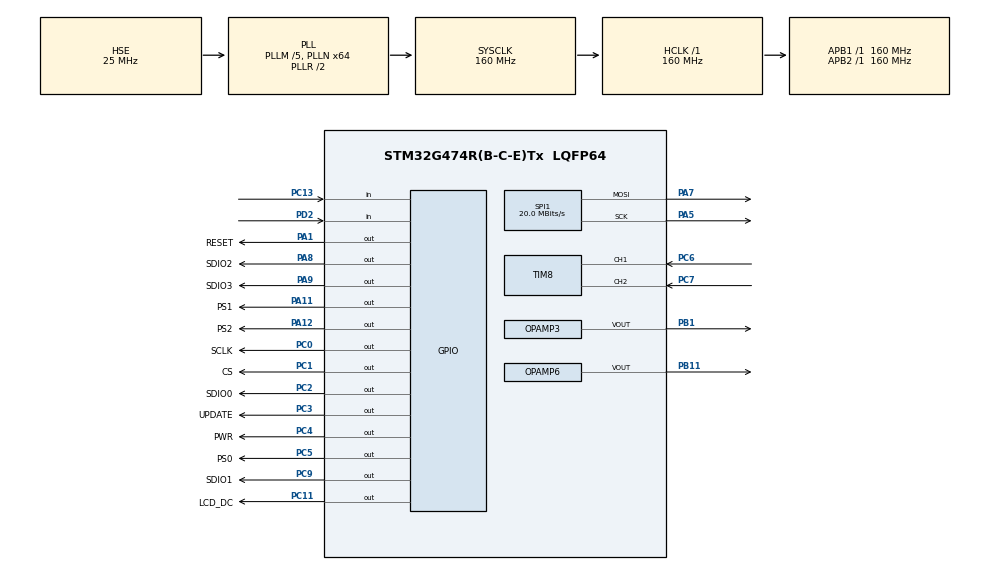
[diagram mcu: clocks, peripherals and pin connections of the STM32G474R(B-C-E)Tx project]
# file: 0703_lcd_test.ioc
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DAC3.DAC_Channel-DAC_OUT2_Int=DAC_CHANNEL_2
DAC3.DAC_DMADoubleDataMode-DAC_OUT1_Int=ENABLE
DAC3.DAC_DMADoubleDataMode-DAC_OUT2_Int=ENABLE
DAC3.DAC_Trigger_OUT1-DAC_OUT1_Int=DAC_TRIGGER_T15_TRGO
DAC3.DAC_Trigger_OUT2-DAC_OUT2_Int=DAC_TRIGGER_T15_TRGO
Dma.DAC3_CH1.1.Direction=DMA_MEMORY_TO_PERIPH
Dma.DAC3_CH1.1.EventEnable=DISABLE
Dma.DAC3_CH1.1.Instance=DMA1_Channel2
Dma.DAC3_CH1.1.MemDataAlignment=DMA_MDATAALIGN_WORD
Dma.DAC3_CH1.1.MemInc=DMA_MINC_ENABLE
Dma.DAC3_CH1.1.Mode=DMA_CIRCULAR
Dma.DAC3_CH1.1.PeriphDataAlignment=DMA_PDATAALIGN_WORD
Dma.DAC3_CH1.1.PeriphInc=DMA_PINC_DISABLE
Dma.DAC3_CH1.1.Polarity=HAL_DMAMUX_REQ_GEN_RISING
Dma.DAC3_CH1.1.Priority=DMA_PRIORITY_LOW
Dma.DAC3_CH1.1.RequestNumber=1
Dma.DAC3_CH1.1.SignalID=NONE
Dma.DAC3_CH1.1.SyncEnable=DISABLE
Dma.DAC3_CH1.1.SyncPolarity=HAL_DMAMUX_SYNC_NO_EVENT
Dma.DAC3_CH1.1.SyncRequestNumber=1
Dma.DAC3_CH1.1.SyncSignalID=NONE
Dma.DAC3_CH2.2.Direction=DMA_MEMORY_TO_PERIPH
Dma.DAC3_CH2.2.EventEnable=DISABLE
Dma.DAC3_CH2.2.Instance=DMA1_Channel3
Dma.DAC3_CH2.2.MemDataAlignment=DMA_MDATAALIGN_WORD
Dma.DAC3_CH2.2.MemInc=DMA_MINC_ENABLE
Dma.DAC3_CH2.2.Mode=DMA_CIRCULAR
Dma.DAC3_CH2.2.PeriphDataAlignment=DMA_PDATAALIGN_WORD
Dma.DAC3_CH2.2.PeriphInc=DMA_PINC_DISABLE
Dma.DAC3_CH2.2.Polarity=HAL_DMAMUX_REQ_GEN_RISING
Dma.DAC3_CH2.2.Priority=DMA_PRIORITY_LOW
Dma.DAC3_CH2.2.RequestNumber=1
Dma.DAC3_CH2.2.SignalID=NONE
Dma.DAC3_CH2.2.SyncEnable=DISABLE
Dma.DAC3_CH2.2.SyncPolarity=HAL_DMAMUX_SYNC_NO_EVENT
Dma.DAC3_CH2.2.SyncRequestNumber=1
Dma.DAC3_CH2.2.SyncSignalID=NONE
Dma.Request0=SPI1_TX
Dma.Request1=DAC3_CH1
Dma.Request2=DAC3_CH2
Dma.SPI1_TX.0.Direction=DMA_MEMORY_TO_PERIPH
Dma.SPI1_TX.0.EventEnable=DISABLE
Dma.SPI1_TX.0.Instance=DMA1_Channel1
Dma.SPI1_TX.0.MemDataAlignment=DMA_MDATAALIGN_BYTE
Dma.SPI1_TX.0.MemInc=DMA_MINC_ENABLE
Dma.SPI1_TX.0.Mode=DMA_NORMAL
Dma.SPI1_TX.0.PeriphDataAlignment=DMA_PDATAALIGN_BYTE
Dma.SPI1_TX.0.PeriphInc=DMA_PINC_DISABLE
Dma.SPI1_TX.0.Polarity=HAL_DMAMUX_REQ_GEN_RISING
Dma.SPI1_TX.0.Priority=DMA_PRIORITY_LOW
Dma.SPI1_TX.0.RequestNumber=1
Dma.SPI1_TX.0.SignalID=NONE
Dma.SPI1_TX.0.SyncEnable=DISABLE
Dma.SPI1_TX.0.SyncPolarity=HAL_DMAMUX_SYNC_NO_EVENT
Dma.SPI1_TX.0.SyncRequestNumber=1
Dma.SPI1_TX.0.SyncSignalID=NONE
Mcu.Family=STM32G4
Mcu.Name=STM32G474R(B-C-E)Tx
Mcu.Package=LQFP64
NVIC.DMA1_Channel1_IRQn=true\:0\:0\:false\:false\:true\:true\:true\:true
NVIC.PriorityGroup=NVIC_PRIORITYGROUP_4
OPAMP3.PowerMode=OPAMP_POWERMODE_HIGHSPEED
OPAMP6.PowerMode=OPAMP_POWERMODE_HIGHSPEED
PA1.GPIO_Label=RESET
PA1.Signal=GPIO_Output
PA11.GPIO_Label=PS1
PA11.Signal=GPIO_Output
PA12.GPIO_Label=PS2
PA12.Signal=GPIO_Output
PA13.Mode=Trace_Asynchronous_SW
PA13.Signal=SYS_JTMS-SWDIO
PA14.Mode=Trace_Asynchronous_SW
PA14.Signal=SYS_JTCK-SWCLK
PA5.Mode=TX_Only_Simplex_Unidirect_Master
PA5.Signal=SPI1_SCK
PA7.Mode=TX_Only_Simplex_Unidirect_Master
PA7.Signal=SPI1_MOSI
PA8.GPIO_Label=SDIO2
PA8.Signal=GPIO_Output
PA9.GPIO_Label=SDIO3
PA9.Signal=GPIO_Output
PB1.Mode=Follower-DAC_OUT2-INP
PB1.Signal=OPAMP3_VOUT
PB11.Mode=Follower-DAC_OUT2-INP
PB11.Signal=OPAMP6_VOUT
PB3.Mode=Trace_Asynchronous_SW
PB3.Signal=SYS_JTDO-SWO
PC0.GPIO_Label=SCLK
PC0.Signal=GPIO_Output
PC1.GPIO_Label=CS
PC1.Signal=GPIO_Output
PC11.GPIO_Label=LCD_DC
PC11.Signal=GPIO_Output
PC13.GPIO_PuPd=GPIO_PULLUP
PC13.Signal=GPIO_Input
PC2.GPIO_Label=SDIO0
PC2.Signal=GPIO_Output
PC3.GPIO_Label=UPDATE
PC3.Signal=GPIO_Output
PC4.GPIO_Label=PWR
PC4.Signal=GPIO_Output
PC5.GPIO_Label=PS0
PC5.Signal=GPIO_Output
PC6.GPIO_PuPd=GPIO_PULLUP
PC6.Signal=S_TIM8_CH1
PC7.GPIO_PuPd=GPIO_PULLUP
PC7.Signal=S_TIM8_CH2
PC9.GPIO_Label=SDIO1
PC9.Signal=GPIO_Output
PD2.GPIO_PuPd=GPIO_PULLUP
PD2.Signal=GPIO_Input
PF0-OSC_IN.Mode=HSE-External-Oscillator
PF0-OSC_IN.Signal=RCC_OSC_IN
PF1-OSC_OUT.Mode=HSE-External-Oscillator
PF1-OSC_OUT.Signal=RCC_OSC_OUT
ProjectManager.HeapSize=0x200
ProjectManager.StackSize=0x400
ProjectManager.TargetToolchain=STM32CubeIDE
RCC.ADC12Freq_Value=160000000
RCC.ADC345Freq_Value=160000000
RCC.AHBFreq_Value=160000000
RCC.APB1Freq_Value=160000000
RCC.APB1TimFreq_Value=160000000
RCC.APB2Freq_Value=160000000
RCC.APB2TimFreq_Value=160000000
RCC.CortexFreq_Value=160000000
RCC.EXTERNAL_CLOCK_VALUE=12288000
RCC.HCLKFreq_Value=160000000
RCC.HSE_VALUE=25000000
RCC.HSI48_VALUE=48000000
RCC.HSI_VALUE=16000000
RCC.LSE_VALUE=32768
RCC.PLLM=RCC_PLLM_DIV5
RCC.PLLN=64
RCC.PLLSourceVirtual=RCC_PLLSOURCE_HSE
RCC.SYSCLKFreq_VALUE=160000000
RCC.SYSCLKSource=RCC_SYSCLKSOURCE_PLLCLK
RCC.USBFreq_Value=160000000
RCC.VCOOutputFreq_Value=320000000
SH.S_TIM8_CH1.0=TIM8_CH1,Encoder_Interface
SH.S_TIM8_CH2.0=TIM8_CH2,Encoder_Interface
SPI1.BaudRatePrescaler=SPI_BAUDRATEPRESCALER_8
SPI1.CLKPhase=SPI_PHASE_1EDGE
SPI1.CLKPolarity=SPI_POLARITY_LOW
SPI1.CalculateBaudRate=20.0 MBits/s
SPI1.DataSize=SPI_DATASIZE_8BIT
SPI1.Direction=SPI_DIRECTION_2LINES
SPI1.Mode=SPI_MODE_MASTER
SPI1.NSSPMode=SPI_NSS_PULSE_DISABLE
SPI1.VirtualType=VM_MASTER
TIM15.PeriodNoDither=19
TIM15.TIM_MasterOutputTrigger=TIM_TRGO_UPDATE
TIM8.EncoderMode=TIM_ENCODERMODE_TI12
TIM8.IC1Filter=0
TIM8.IC2Filter=0
VP_DAC3_VS_DACI1.Mode=DAC_OUT1_Int
VP_DAC3_VS_DACI2.Mode=DAC_OUT2_Int
VP_SYS_VS_DBSignals.Mode=DisableDeadBatterySignals
VP_TIM15_VS_ClockSourceINT.Mode=Internal
board=custom

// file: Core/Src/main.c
/* USER CODE BEGIN Header */
/**
  ******************************************************************************
  * @file           : main.c
  * @brief          : Main program body
  ******************************************************************************
  * @attention
  *
  * Copyright (c) 2024 STMicroelectronics.
  * All rights reserved.
  *
  * This software is licensed under terms that can be found in the LICENSE file
  * in the root directory of this software component.
  * If no LICENSE file comes with this software, it is provided AS-IS.
  *
  ******************************************************************************
  */
/* USER CODE END Header */
#include "main.h"

/* USER CODE BEGIN Includes */
#include "tft18.h"
#include <math.h>
/* USER CODE END Includes */

DAC_HandleTypeDef hdac3;
DMA_HandleTypeDef hdma_dac3_ch1;
DMA_HandleTypeDef hdma_dac3_ch2;

OPAMP_HandleTypeDef hopamp3;
OPAMP_HandleTypeDef hopamp6;

SPI_HandleTypeDef hspi1;
DMA_HandleTypeDef hdma_spi1_tx;

TIM_HandleTypeDef htim8;
TIM_HandleTypeDef htim15;

void SystemClock_Config(void);
static void MX_GPIO_Init(void);
static void MX_DMA_Init(void);
static void MX_SPI1_Init(void);
static void MX_TIM8_Init(void);
static void MX_DAC3_Init(void);
static void MX_OPAMP3_Init(void);
static void MX_OPAMP6_Init(void);
static void MX_TIM15_Init(void);

/* USER CODE BEGIN 0 */
#define SCLK_LOW HAL_GPIO_WritePin(GPIOC, 1<<0, GPIO_PIN_RESET)
#define SCLK_HIGH HAL_GPIO_WritePin(GPIOC, 1<<0, GPIO_PIN_SET)
#define CS_LOW HAL_GPIO_WritePin(GPIOC, 1<<1, GPIO_PIN_RESET)
#define CS_HIGH HAL_GPIO_WritePin(GPIOC, 1<<1, GPIO_PIN_SET)
#define SDIO0_LOW HAL_GPIO_WritePin(GPIOC, 1<<2, GPIO_PIN_RESET)
#define SDIO0_HIGH HAL_GPIO_WritePin(GPIOC, 1<<2, GPIO_PIN_SET)
#define UPDATE_LOW HAL_GPIO_WritePin(GPIOC, 1<<3, GPIO_PIN_RESET)
#define UPDATE_HIGH HAL_GPIO_WritePin(GPIOC, 1<<3, GPIO_PIN_SET)

int high_cur_flag = 0;
int mode = 0;
int mode_t = 0;
int ampl = 1000;
int ampl_t = 1000;
int modual = 0;
int modual_t = 0;
int delay = 0;
int delay_t = 0;
int atten = 0;
int atten_t = 0;
uint32_t freq = 30;
uint32_t freq_t = 30;
int phase = 0;
int phase_t = 0;
int dac_phase = 0;
int dds_phase = 0;
int dac_phase_1 = 0;
int dds_phase_1 = 0;
int init_phase = 0;//14200;
int total = 0;
float freq_acu_1[11] ={102.5,103,104,106,106,107,108,108,109,110,110.5};
float freq_acu_2[11] ={102  ,102,103,104,105,106,106,107,107.5,108,109};
float DB[11] = {
1000,
891,
630,
500,
398,
316,
251,
199,
158,
126,
100 };

void AD9959_WriteData(uint8_t RegisterAddress, uint8_t NumberofRegisters, uint8_t *RegisterData)
{
	uint8_t	ControlValue = 0;
	uint8_t	ValueToWrite = 0;
	uint8_t	RegisterIndex = 0;
	uint8_t	i = 0;
	ControlValue = RegisterAddress;
	SCLK_LOW;
	CS_LOW;
	for(i=0; i<8; i++)
	{
		SCLK_LOW;
		if(0x80 == (ControlValue & 0x80))
			SDIO0_HIGH;
		else
			SDIO0_LOW;
		SCLK_HIGH;
		ControlValue <<= 1;
	}
	SCLK_LOW;
	for (RegisterIndex=0; RegisterIndex<NumberofRegisters; RegisterIndex++)
	{
		ValueToWrite = RegisterData[RegisterIndex];
		for (i=0; i<8; i++)
		{
			SCLK_LOW;
			if(0x80 == (ValueToWrite & 0x80))
			SDIO0_HIGH;
			else
			SDIO0_LOW;
			SCLK_HIGH;
			ValueToWrite <<= 1;
		}
		SCLK_LOW;
	}
  CS_HIGH;
}
void Write_CFTW0(uint32_t fre)
{
	uint8_t CFTW0_DATA[4] ={0x00,0x00,0x00,0x00};
	uint32_t Temp;
	Temp=(uint32_t)fre * 4294967296 / 500000000;
	CFTW0_DATA[3]=(uint8_t)Temp;
	CFTW0_DATA[2]=(uint8_t)(Temp>>8);
	CFTW0_DATA[1]=(uint8_t)(Temp>>16);
	CFTW0_DATA[0]=(uint8_t)(Temp>>24);
	AD9959_WriteData(0x04,4,CFTW0_DATA);//CTW0 address 0x04
}
void AD9959_Set_Freq(uint8_t Channel,uint32_t Freq)
{
	uint8_t CHANNEL[1] = {0x00};
	CHANNEL[0]=Channel;
	AD9959_WriteData(0x00,1,CHANNEL);
    Write_CFTW0(Freq);
}

void Write_ACR(uint16_t Ampl)
{
	uint32_t A_temp=0;
	uint8_t ACR_DATA[3] = {0x00,0x00,0x00};//default Value = 0x--0000 Rest = 18.91/Iout
    A_temp=Ampl|0x1000;
	ACR_DATA[1] = (uint8_t)(A_temp>>8); //高位数据
	ACR_DATA[2] = (uint8_t)A_temp;  //低位数据
    AD9959_WriteData(0x06, 3, ACR_DATA); //ACR address 0x06.CHn设定幅度
}

void AD9959_Set_Ampl(uint8_t Channel, uint32_t Ampl, int freq)
{
	uint8_t CHANNEL[1] = {0x00};
	CHANNEL[0]=Channel;
	AD9959_WriteData(0x00,1,CHANNEL); //控制寄存器写入CHn通道�??????
	if (Channel == 0x40)
		Write_ACR((uint16_t)((float)Ampl * ((float)freq_acu_1[freq-30])/180) );
	if (Channel == 0x80)
		Write_ACR((uint16_t)((float)Ampl * ((float)freq_acu_2[freq-30])/180) );	//	CHn设定幅度
}
void Write_CPOW0(uint16_t Phase)
{
	uint8_t CPOW0_data[2] = {0x00,0x00};
	CPOW0_data[1]=(uint8_t)Phase;
	CPOW0_data[0]=(uint8_t)(Phase>>8);
	AD9959_WriteData(0x05,2,CPOW0_data);//CPOW0 address 0x05.CHn设定相位
}

void AD9959_Set_Phase(uint8_t Channel,uint16_t Phase)
{
	uint8_t CHANNEL[1] = {0x00};
	CHANNEL[0]=Channel;
	AD9959_WriteData(0x00,1,CHANNEL); //控制寄存器写入CHn通道�????
	Write_CPOW0(Phase);//CHn设定相位
}

void AD9959_Init(void)
{
  Intserve();  //IO口电平状态初始化
  IntReset();  //AD9959复位
	//初始化功能寄存器
  uint8_t FR1_DATA[3] = {0xD0,0x00,0x00};//VCO gain control[23]=1系统时钟高于255Mhz; PLL[22:18]=10100,20倍频,20*25M=500MHZ; Charge pump control = 75uA
  uint8_t FR2_DATA[2] = {0x00,0x00};	// 双方向扫描，即从起始值扫到结束�?�后，又从结束�?�扫到起始�??
  AD9959_WriteData(0x01,3,FR1_DATA);//写功能寄存器1
  AD9959_WriteData(0x02,2,FR2_DATA);
}
void IntReset()
{
	HAL_GPIO_WritePin(GPIOA, 1<<1, GPIO_PIN_RESET);
	HAL_Delay(1);
	HAL_GPIO_WritePin(GPIOA, 1<<1, 1);
	HAL_Delay(1);
	HAL_GPIO_WritePin(GPIOA, 1<<1, 0);
}
void Intserve(void)
{
	HAL_GPIO_WritePin(PWR_GPIO_Port, PWR_Pin, 0);
    CS_HIGH;
    SCLK_LOW;
    UPDATE_LOW;
    HAL_GPIO_WritePin(PS0_GPIO_Port, PS0_Pin, 0);
    HAL_GPIO_WritePin(PS1_GPIO_Port, PS1_Pin, 0);
    HAL_GPIO_WritePin(PS2_GPIO_Port, PS2_Pin, 0);
    //HAL_GPIO_WritePin(PS3_GPIO_Port, PS3_Pin, 0);
    SDIO0_HIGH;
    HAL_GPIO_WritePin(SDIO1_GPIO_Port, SDIO1_Pin, 0);
    HAL_GPIO_WritePin(SDIO2_GPIO_Port, SDIO2_Pin, 0);
    HAL_GPIO_WritePin(SDIO3_GPIO_Port, SDIO3_Pin, 0);
}
void IO_Update(void)
{
	UPDATE_LOW;
	HAL_Delay(1);
	UPDATE_HIGH;
	HAL_Delay(3);
	UPDATE_LOW;
}

#define offset 2048
#define dac_length 4 //对应500mV，校准时可能�??????要改
uint16_t scaled_sine_wave_table_Sd[dac_length];
uint16_t scaled_sine_wave_table_Sm[dac_length];

void set_dac(uint16_t modulation,int16_t phase)
{
  HAL_TIM_Base_Stop(&htim15);
  HAL_DAC_Stop_DMA(&hdac3, DAC_CHANNEL_1);
  HAL_DAC_Stop_DMA(&hdac3, DAC_CHANNEL_2);

  uint16_t max_val;
  uint16_t min_val;
  phase -= 7;
  if(phase < 0) phase += 360;
  if(phase > 360) phase -= 360;
  max_val=(offset*modulation/100)+offset;
  min_val=offset-(offset*modulation/100);

  float sine_wave_table[dac_length];
  float sine_wave_table_phase[dac_length];

  float step = 2 * M_PI / dac_length;

  for (int i = 0; i < dac_length; i++) {
    sine_wave_table[i] = sinf(i * step+ ((float)1) * M_PI/180.0 );
    sine_wave_table_phase[i] = sinf(i * step + ((float)phase + 1) * M_PI/180.0 );
  }
  for (int i = 0; i < dac_length; i++) {
    scaled_sine_wave_table_Sd[i] = (uint16_t)((sine_wave_table[i] + 1) * (max_val - min_val) / 2 + min_val);
    scaled_sine_wave_table_Sm[i] = (uint16_t)((sine_wave_table_phase[i] + 1) * (max_val - min_val) / 2 + min_val);
  }
  HAL_DAC_Start_DMA(&hdac3, DAC_CHANNEL_1,scaled_sine_wave_table_Sd, dac_length / 2, DAC_ALIGN_12B_R);
  HAL_DAC_Start_DMA(&hdac3, DAC_CHANNEL_2,scaled_sine_wave_table_Sm, dac_length / 2, DAC_ALIGN_12B_R);

  (&htim15)->Instance->ARR = (uint32_t)(19);
  HAL_OPAMP_Start(&hopamp6);
  HAL_OPAMP_Start(&hopamp3);
  HAL_TIM_Base_Start(&htim15);
}
/* USER CODE END 0 */

int main(void)
{

  /* MCU Configuration--------------------------------------------------------*/

  /* Reset of all peripherals, Initializes the Flash interface and the Systick. */
  HAL_Init();

  /* Configure the system clock */
  SystemClock_Config();

  /* Initialize all configured peripherals */
  MX_GPIO_Init();
  MX_DMA_Init();
  MX_SPI1_Init();
  MX_TIM8_Init();
  MX_DAC3_Init();
  MX_OPAMP3_Init();
  MX_OPAMP6_Init();
  MX_TIM15_Init();
  /* USER CODE BEGIN 2 */
  setup();
  HAL_TIM_Encoder_Start(&htim8, TIM_CHANNEL_ALL);
  GPIO_PinState prev = GPIO_PIN_SET;
  AD9959_Init();
  AD9959_Set_Ampl(0x40, ampl, freq);
  AD9959_Set_Ampl(0x80, ampl, freq);
  AD9959_Set_Phase(0x40, 0);
  AD9959_Set_Freq(0xF0, freq * 1000000);
  IO_Update();
  set_dac(0, dac_phase);
  /* USER CODE END 2 */

  /* Infinite loop */
  /* USER CODE BEGIN WHILE */
  while (1)
  {
	  int Direction = __HAL_TIM_IS_TIM_COUNTING_DOWN(&htim8);   //读取电机转动方向
	  int CaptureNumber = (short)__HAL_TIM_GET_COUNTER(&htim8);
	  int counter = CaptureNumber / 4 % 8 ;

	  switch(counter)
	  {
	  case 0:
		  lcd_show_picture(101, 5 , 12, 20, MenuCursor16x16);
		  lcd_show_picture(101, 25 , 12, 20, gImage_black);
		  lcd_show_picture(101, 45 , 12, 20, gImage_black);
		  lcd_show_picture(101, 65 , 12, 20, gImage_black);
		  lcd_show_picture(101, 85 , 12, 20, gImage_black);
		  lcd_show_picture(101, 105 , 12, 20, gImage_black);
		  lcd_show_picture(101, 125 , 12, 20, gImage_black);
		  lcd_show_picture(101, 145 , 12, 20, gImage_black);
		  break;
	  case 1:
		  lcd_show_picture(101, 25 , 12, 20, MenuCursor16x16);
		  lcd_show_picture(101, 5 , 12, 20, gImage_black);
		  lcd_show_picture(101, 45 , 12, 20, gImage_black);
		  lcd_show_picture(101, 65 , 12, 20, gImage_black);
		  lcd_show_picture(101, 85 , 12, 20, gImage_black);
		  lcd_show_picture(101, 105 , 12, 20, gImage_black);
		  lcd_show_picture(101, 125 , 12, 20, gImage_black);
		  lcd_show_picture(101, 145 , 12, 20, gImage_black);
		  break;
	  case 2:
		  lcd_show_picture(101, 45 , 12, 20, MenuCursor16x16);
		  lcd_show_picture(101, 25 , 12, 20, gImage_black);
		  lcd_show_picture(101, 5 , 12, 20, gImage_black);
		  lcd_show_picture(101, 65 , 12, 20, gImage_black);
		  lcd_show_picture(101, 85 , 12, 20, gImage_black);
		  lcd_show_picture(101, 105 , 12, 20, gImage_black);
		  lcd_show_picture(101, 125 , 12, 20, gImage_black);
		  lcd_show_picture(101, 145 , 12, 20, gImage_black);
		  break;
	  case 3:
		  lcd_show_picture(101, 65 , 12, 20, MenuCursor16x16);
		  lcd_show_picture(101, 25 , 12, 20, gImage_black);
		  lcd_show_picture(101, 45 , 12, 20, gImage_black);
		  lcd_show_picture(101, 5 , 12, 20, gImage_black);
		  lcd_show_picture(101, 85 , 12, 20, gImage_black);
		  lcd_show_picture(101, 105 , 12, 20, gImage_black);
		  lcd_show_picture(101, 125 , 12, 20, gImage_black);
		  lcd_show_picture(101, 145 , 12, 20, gImage_black);
		  break;
	  case 4:
		  lcd_show_picture(101, 85 , 12, 20, MenuCursor16x16);
		  lcd_show_picture(101, 25 , 12, 20, gImage_black);
		  lcd_show_picture(101, 45 , 12, 20, gImage_black);
		  lcd_show_picture(101, 65 , 12, 20, gImage_black);
		  lcd_show_picture(101, 5 , 12, 20, gImage_black);
		  lcd_show_picture(101, 105 , 12, 20, gImage_black);
		  lcd_show_picture(101, 125 , 12, 20, gImage_black);
		  lcd_show_picture(101, 145 , 12, 20, gImage_black);
		  break;
	  case 5:
		  lcd_show_picture(101, 105 , 12, 20, MenuCursor16x16);
		  lcd_show_picture(101, 25 , 12, 20, gImage_black);
		  lcd_show_picture(101, 45 , 12, 20, gImage_black);
		  lcd_show_picture(101, 65 , 12, 20, gImage_black);
		  lcd_show_picture(101, 85 , 12, 20, gImage_black);
		  lcd_show_picture(101, 5 , 12, 20, gImage_black);
		  lcd_show_picture(101, 125 , 12, 20, gImage_black);
		  lcd_show_picture(101, 145 , 12, 20, gImage_black);
		  break;
	  case 6:
		  lcd_show_picture(101, 125 , 12, 20, MenuCursor16x16);
		  lcd_show_picture(101, 25 , 12, 20, gImage_black);
		  lcd_show_picture(101, 45 , 12, 20, gImage_black);
		  lcd_show_picture(101, 65 , 12, 20, gImage_black);
		  lcd_show_picture(101, 85 , 12, 20, gImage_black);
		  lcd_show_picture(101, 105 , 12, 20, gImage_black);
		  lcd_show_picture(101, 5 , 12, 20, gImage_black);
		  lcd_show_picture(101, 145 , 12, 20, gImage_black);
		  break;
	  case 7:
		  lcd_show_picture(101, 145 , 12, 20, MenuCursor16x16);
		  lcd_show_picture(101, 25 , 12, 20, gImage_black);
		  lcd_show_picture(101, 45 , 12, 20, gImage_black);
		  lcd_show_picture(101, 65 , 12, 20, gImage_black);
		  lcd_show_picture(101, 85 , 12, 20, gImage_black);
		  lcd_show_picture(101, 105 , 12, 20, gImage_black);
		  lcd_show_picture(101, 125 , 12, 20, gImage_black);
		  lcd_show_picture(101, 0 , 12, 20, gImage_black);
		  break;
	  }
	  GPIO_PinState curr = HAL_GPIO_ReadPin(GPIOC, 1<<13);
	  if (prev && !curr)
	  {
		  switch(counter)
		  {
		  case 0:
			  lcd_show_str(100, 165,"MODE:\n");
			  while(1)
			  {
				  mode = abs((CaptureNumber) / 4 % 2 + 1);
				  if(mode != mode_t)
				  {
					  mode_t = mode;
					  if (mode < 2) lcd_show_str(101,185,"CW");
					  else lcd_show_str(101,185,"AM");
				  }
				  CaptureNumber = (short)__HAL_TIM_GET_COUNTER(&htim8);
				  if (HAL_GPIO_ReadPin(GPIOD, 1<<2) == GPIO_PIN_RESET)
				  {
					  lcd_show_str(101,205,"CONFIRM?\n");
					  break;
				  }
			  }
              if(mode < 2)
			  {
            	  modual = 0;
            	  set_dac(modual,dac_phase );
			  }
              else
              {
            	  modual = 100;
            	  set_dac(modual,dac_phase );
              }
			  break;
		  case 1:
			  lcd_show_str(100, 165,"AMPL:\n");
			  while (1)
			  {
				  ampl = abs((CaptureNumber) / 4 % 10 * 100 + 100);
				  if(ampl != ampl_t)
				  {
					  ampl_t = ampl;
					  lcd_show_num(ampl);
				  }
				  CaptureNumber = (short)__HAL_TIM_GET_COUNTER(&htim8);
				  if (HAL_GPIO_ReadPin(GPIOD, 1<<2) == GPIO_PIN_RESET)
				  {
					  lcd_show_str(101,205,"CONFIRM?\n");
					  break;
				  }
			  }
			  AD9959_Set_Ampl(0x40, ampl, freq );
			  AD9959_Set_Ampl(0x80, ampl, freq );
			  IO_Update();
			  break;
		  case 2:
			  lcd_show_str(100, 165,"MODULATION:\n");
			  while (1)
			  {
				  modual = abs((((CaptureNumber) / 4 )% 7) * 10 + 30);
				  if(modual != modual_t)
				  {
					  modual_t = modual;
					  lcd_show_num(modual);
				  }
				  CaptureNumber = (short)__HAL_TIM_GET_COUNTER(&htim8);
				  if (HAL_GPIO_ReadPin(GPIOD, 1<<2) == GPIO_PIN_RESET)
				  {
					  lcd_show_str(101,205,"CONFIRM?\n");
					  break;
				  }
			  }
			  set_dac(modual, dac_phase + dac_phase_1);
			  break;
		  case 3:
			  lcd_show_str(100, 165,"DELAY:\n");
			  while (1)
			  {
				  delay = abs((CaptureNumber) / 4 % 7 * 30 + 50);
				  if(delay == 230) delay = 0;
				  if(delay != delay_t)
				  {
					  delay_t = delay;
					  lcd_show_num(delay);
				  }
				  CaptureNumber = (short)__HAL_TIM_GET_COUNTER(&htim8);
				  if (HAL_GPIO_ReadPin(GPIOD, 1<<2) == GPIO_PIN_RESET)
				  {
					  lcd_show_str(101,205,"CONFIRM?\n");
					  break;
				  }
			  }
			  float final_phase = (float)delay * (float)1e-3 * (float)freq ;
			  int integer = final_phase;
			  float set_phase = 1 - final_phase + (float)integer /*+ (float)phase/360*/;
			  int set_phase_int = set_phase;

			  dds_phase = (set_phase - (float)set_phase_int) * 16383;
			  //dds_phase = dds_phase - (int)((float)freq * 16383 * 4.4 / 1000);
			  if(dds_phase > 16383)dds_phase -= 16383;
			  if(dds_phase < 16383)dds_phase += 16383;
			  total = dds_phase + dds_phase_1 + init_phase * freq / 30;
			  if(total > 16383) total -=16383;
			  if(total < 0)     total +=16383;
			  AD9959_Set_Phase(0x40, total);
			  IO_Update();
			  dac_phase = delay * 360 / 500 ;
			  set_dac(modual, dac_phase + dac_phase_1);
			  break;
		  case 4:
			  lcd_show_str(100, 165,"ATTENUATION:\n");
			  while (1)
			  {
				  atten = abs((CaptureNumber) / 4 % 11 * 2);
				  if(atten != atten_t)
				  {
					  atten_t = atten;
					  lcd_show_num(atten);
				  }
				  CaptureNumber = (short)__HAL_TIM_GET_COUNTER(&htim8);
				  if (HAL_GPIO_ReadPin(GPIOD, 1<<2) == GPIO_PIN_RESET)
				  {
					  lcd_show_str(101,205,"CONFIRM?\n");
					  break;
				  }
			  }
			  AD9959_Set_Ampl(0x80, DB[atten / 2] * ampl / 1000, freq);
			  IO_Update();
			  break;
		  case 5:
			  lcd_show_str(100, 165,"FREQUENCY:\n");
			  while (1)
			  {
				  freq = abs((CaptureNumber) / 4 % 11 + 30);
				  if(freq != freq_t)
				  {
					  freq_t = freq;
					  lcd_show_num(freq);
				  }
				  CaptureNumber = (short)__HAL_TIM_GET_COUNTER(&htim8);
				  if (HAL_GPIO_ReadPin(GPIOD, 1<<2) == GPIO_PIN_RESET)
				  {
					  lcd_show_str(101,205,"CONFIRM?\n");
					  break;
				  }
			  }
			  AD9959_Set_Freq(0xC0, freq * 1000000);
			  AD9959_Set_Ampl(0x40, ampl, freq );
			  AD9959_Set_Ampl(0x80, ampl, freq );
			  IO_Update();
			  break;
		  case 6:
			  lcd_show_str(100, 165,"CARRIER PHASE\n");
			  while (1)
			  {
				  phase = abs((CaptureNumber) / 4 % 7 * 30);
				  if(phase != phase_t)
				  {
					  phase_t = phase;
					  lcd_show_num(phase);
				  }
				  CaptureNumber = (short)__HAL_TIM_GET_COUNTER(&htim8);
				  if (HAL_GPIO_ReadPin(GPIOD, 1<<2) == GPIO_PIN_RESET)
				  {
					  lcd_show_str(101,205,"CONFIRM?\n");
					  break;
				  }
			  }
			  dds_phase_1 = phase * 16383 / 360;
			  //dds_phase_1 -= (int)((float)freq * 16383 * 4.4 / 1000);
              if(dds_phase_1 > 16383) dds_phase_1 -=16383;
              if(dds_phase_1 < 0)     dds_phase_1 +=16383;
              total = dds_phase + dds_phase_1 + init_phase * freq / 30;
              if(total > 16383) total -=16383;
			  if(total < 0)     total +=16383;
			  AD9959_Set_Phase(0x40, total);
			  IO_Update();
			  break;
		  case 7:
			  lcd_show_str(100, 165,"SIGNAL PHASE\n");
			  while (1)
			  {
				  phase = abs((CaptureNumber) / 4 % 7 * 30);
				  if(phase != phase_t)
				  {
					  phase_t = phase;
					  lcd_show_num(phase);
				  }
				  CaptureNumber = (short)__HAL_TIM_GET_COUNTER(&htim8);
				  if (HAL_GPIO_ReadPin(GPIOD, 1<<2) == GPIO_PIN_RESET)
				  {
					  lcd_show_str(101,205,"CONFIRM?\n");
					  break;
				  }
			  }
			  dac_phase_1 = phase ;
			  set_dac(modual, dac_phase + dac_phase_1);
			  break;
		  }
		  while(HAL_GPIO_ReadPin(GPIOC, 1<<13) != 0)		  ;
		  //lcd_show_picture(101, 105, 240, 100, gImage_black_big);
		  lcd_show_black(100, 165, 239, 100);
	  }
	  prev = curr;

    /* USER CODE END WHILE */

  }
}

void SystemClock_Config(void)
{
  RCC_OscInitTypeDef RCC_OscInitStruct = {0};
  RCC_ClkInitTypeDef RCC_ClkInitStruct = {0};

  /** Configure the main internal regulator output voltage
  */
  HAL_PWREx_ControlVoltageScaling(PWR_REGULATOR_VOLTAGE_SCALE1_BOOST);

  /** Initializes the RCC Oscillators according to the specified parameters
  * in the RCC_OscInitTypeDef structure.
  */
  RCC_OscInitStruct.OscillatorType = RCC_OSCILLATORTYPE_HSE;
  RCC_OscInitStruct.HSEState = RCC_HSE_ON;
  RCC_OscInitStruct.PLL.PLLState = RCC_PLL_ON;
  RCC_OscInitStruct.PLL.PLLSource = RCC_PLLSOURCE_HSE;
  RCC_OscInitStruct.PLL.PLLM = RCC_PLLM_DIV5;
  RCC_OscInitStruct.PLL.PLLN = 64;
  RCC_OscInitStruct.PLL.PLLP = RCC_PLLP_DIV2;
  RCC_OscInitStruct.PLL.PLLQ = RCC_PLLQ_DIV2;
  RCC_OscInitStruct.PLL.PLLR = RCC_PLLR_DIV2;
  if (HAL_RCC_OscConfig(&RCC_OscInitStruct) != HAL_OK)
  {
    Error_Handler();
  }

  /** Initializes the CPU, AHB and APB buses clocks
  */
  RCC_ClkInitStruct.ClockType = RCC_CLOCKTYPE_HCLK|RCC_CLOCKTYPE_SYSCLK
                              |RCC_CLOCKTYPE_PCLK1|RCC_CLOCKTYPE_PCLK2;
  RCC_ClkInitStruct.SYSCLKSource = RCC_SYSCLKSOURCE_PLLCLK;
  RCC_ClkInitStruct.AHBCLKDivider = RCC_SYSCLK_DIV1;
  RCC_ClkInitStruct.APB1CLKDivider = RCC_HCLK_DIV1;
  RCC_ClkInitStruct.APB2CLKDivider = RCC_HCLK_DIV1;

  if (HAL_RCC_ClockConfig(&RCC_ClkInitStruct, FLASH_LATENCY_4) != HAL_OK)
  {
    Error_Handler();
  }
}

static void MX_DAC3_Init(void)
{

  DAC_ChannelConfTypeDef sConfig = {0};

  /** DAC Initialization
  */
  hdac3.Instance = DAC3;
  if (HAL_DAC_Init(&hdac3) != HAL_OK)
  {
    Error_Handler();
  }

  /** DAC channel OUT1 config
  */
  sConfig.DAC_HighFrequency = DAC_HIGH_FREQUENCY_INTERFACE_MODE_AUTOMATIC;
  sConfig.DAC_DMADoubleDataMode = ENABLE;
  sConfig.DAC_SignedFormat = DISABLE;
  sConfig.DAC_SampleAndHold = DAC_SAMPLEANDHOLD_DISABLE;
  sConfig.DAC_Trigger = DAC_TRIGGER_T15_TRGO;
  sConfig.DAC_Trigger2 = DAC_TRIGGER_NONE;
  sConfig.DAC_OutputBuffer = DAC_OUTPUTBUFFER_DISABLE;
  sConfig.DAC_ConnectOnChipPeripheral = DAC_CHIPCONNECT_INTERNAL;
  sConfig.DAC_UserTrimming = DAC_TRIMMING_FACTORY;
  if (HAL_DAC_ConfigChannel(&hdac3, &sConfig, DAC_CHANNEL_1) != HAL_OK)
  {
    Error_Handler();
  }

  /** DAC channel OUT2 config
  */
  if (HAL_DAC_ConfigChannel(&hdac3, &sConfig, DAC_CHANNEL_2) != HAL_OK)
  {
    Error_Handler();
  }

}

static void MX_OPAMP3_Init(void)
{

  hopamp3.Instance = OPAMP3;
  hopamp3.Init.PowerMode = OPAMP_POWERMODE_HIGHSPEED;
  hopamp3.Init.Mode = OPAMP_FOLLOWER_MODE;
  hopamp3.Init.NonInvertingInput = OPAMP_NONINVERTINGINPUT_DAC;
  hopamp3.Init.InternalOutput = DISABLE;
  hopamp3.Init.TimerControlledMuxmode = OPAMP_TIMERCONTROLLEDMUXMODE_DISABLE;
  hopamp3.Init.UserTrimming = OPAMP_TRIMMING_FACTORY;
  if (HAL_OPAMP_Init(&hopamp3) != HAL_OK)
  {
    Error_Handler();
  }

}

static void MX_OPAMP6_Init(void)
{

  hopamp6.Instance = OPAMP6;
  hopamp6.Init.PowerMode = OPAMP_POWERMODE_HIGHSPEED;
  hopamp6.Init.Mode = OPAMP_FOLLOWER_MODE;
  hopamp6.Init.NonInvertingInput = OPAMP_NONINVERTINGINPUT_DAC;
  hopamp6.Init.InternalOutput = DISABLE;
  hopamp6.Init.TimerControlledMuxmode = OPAMP_TIMERCONTROLLEDMUXMODE_DISABLE;
  hopamp6.Init.UserTrimming = OPAMP_TRIMMING_FACTORY;
  if (HAL_OPAMP_Init(&hopamp6) != HAL_OK)
  {
    Error_Handler();
  }

}

static void MX_SPI1_Init(void)
{

  /* SPI1 parameter configuration*/
  hspi1.Instance = SPI1;
  hspi1.Init.Mode = SPI_MODE_MASTER;
  hspi1.Init.Direction = SPI_DIRECTION_2LINES;
  hspi1.Init.DataSize = SPI_DATASIZE_8BIT;
  hspi1.Init.CLKPolarity = SPI_POLARITY_LOW;
  hspi1.Init.CLKPhase = SPI_PHASE_1EDGE;
  hspi1.Init.NSS = SPI_NSS_SOFT;
  hspi1.Init.BaudRatePrescaler = SPI_BAUDRATEPRESCALER_8;
  hspi1.Init.FirstBit = SPI_FIRSTBIT_MSB;
  hspi1.Init.TIMode = SPI_TIMODE_DISABLE;
  hspi1.Init.CRCCalculation = SPI_CRCCALCULATION_DISABLE;
  hspi1.Init.CRCPolynomial = 7;
  hspi1.Init.CRCLength = SPI_CRC_LENGTH_DATASIZE;
  hspi1.Init.NSSPMode = SPI_NSS_PULSE_DISABLE;
  if (HAL_SPI_Init(&hspi1) != HAL_OK)
  {
    Error_Handler();
  }

}

static void MX_TIM8_Init(void)
{

  TIM_Encoder_InitTypeDef sConfig = {0};
  TIM_MasterConfigTypeDef sMasterConfig = {0};

  htim8.Instance = TIM8;
  htim8.Init.Prescaler = 0;
  htim8.Init.CounterMode = TIM_COUNTERMODE_UP;
  htim8.Init.Period = 65535;
  htim8.Init.ClockDivision = TIM_CLOCKDIVISION_DIV1;
  htim8.Init.RepetitionCounter = 0;
  htim8.Init.AutoReloadPreload = TIM_AUTORELOAD_PRELOAD_DISABLE;
  sConfig.EncoderMode = TIM_ENCODERMODE_TI12;
  sConfig.IC1Polarity = TIM_ICPOLARITY_RISING;
  sConfig.IC1Selection = TIM_ICSELECTION_DIRECTTI;
  sConfig.IC1Prescaler = TIM_ICPSC_DIV1;
  sConfig.IC1Filter = 0;
  sConfig.IC2Polarity = TIM_ICPOLARITY_RISING;
  sConfig.IC2Selection = TIM_ICSELECTION_DIRECTTI;
  sConfig.IC2Prescaler = TIM_ICPSC_DIV1;
  sConfig.IC2Filter = 0;
  if (HAL_TIM_Encoder_Init(&htim8, &sConfig) != HAL_OK)
  {
    Error_Handler();
  }
  sMasterConfig.MasterOutputTrigger = TIM_TRGO_RESET;
  sMasterConfig.MasterOutputTrigger2 = TIM_TRGO2_RESET;
  sMasterConfig.MasterSlaveMode = TIM_MASTERSLAVEMODE_DISABLE;
  if (HAL_TIMEx_MasterConfigSynchronization(&htim8, &sMasterConfig) != HAL_OK)
  {
    Error_Handler();
  }

}

static void MX_TIM15_Init(void)
{

  TIM_ClockConfigTypeDef sClockSourceConfig = {0};
  TIM_MasterConfigTypeDef sMasterConfig = {0};

  htim15.Instance = TIM15;
  htim15.Init.Prescaler = 0;
  htim15.Init.CounterMode = TIM_COUNTERMODE_UP;
  htim15.Init.Period = 19;
  htim15.Init.ClockDivision = TIM_CLOCKDIVISION_DIV1;
  htim15.Init.RepetitionCounter = 0;
  htim15.Init.AutoReloadPreload = TIM_AUTORELOAD_PRELOAD_DISABLE;
  if (HAL_TIM_Base_Init(&htim15) != HAL_OK)
  {
    Error_Handler();
  }
  sClockSourceConfig.ClockSource = TIM_CLOCKSOURCE_INTERNAL;
  if (HAL_TIM_ConfigClockSource(&htim15, &sClockSourceConfig) != HAL_OK)
  {
    Error_Handler();
  }
  sMasterConfig.MasterOutputTrigger = TIM_TRGO_UPDATE;
  sMasterConfig.MasterSlaveMode = TIM_MASTERSLAVEMODE_DISABLE;
  if (HAL_TIMEx_MasterConfigSynchronization(&htim15, &sMasterConfig) != HAL_OK)
  {
    Error_Handler();
  }

}

static void MX_DMA_Init(void)
{

  /* DMA controller clock enable */
  __HAL_RCC_DMAMUX1_CLK_ENABLE();
  __HAL_RCC_DMA1_CLK_ENABLE();

  /* DMA interrupt init */
  /* DMA1_Channel1_IRQn interrupt configuration */
  HAL_NVIC_SetPriority(DMA1_Channel1_IRQn, 0, 0);
  HAL_NVIC_EnableIRQ(DMA1_Channel1_IRQn);

}

static void MX_GPIO_Init(void)
{
  GPIO_InitTypeDef GPIO_InitStruct = {0};

  /* GPIO Ports Clock Enable */
  __HAL_RCC_GPIOC_CLK_ENABLE();
  __HAL_RCC_GPIOF_CLK_ENABLE();
  __HAL_RCC_GPIOA_CLK_ENABLE();
  __HAL_RCC_GPIOB_CLK_ENABLE();
  __HAL_RCC_GPIOD_CLK_ENABLE();

  /*Configure GPIO pin Output Level */
  HAL_GPIO_WritePin(GPIOC, SCLK_Pin|CS_Pin|SDIO0_Pin|UPDATE_Pin
                          |PWR_Pin|PS0_Pin|SDIO1_Pin|LCD_DC_Pin, GPIO_PIN_RESET);

  /*Configure GPIO pin Output Level */
  HAL_GPIO_WritePin(GPIOA, RESET_Pin|SDIO2_Pin|SDIO3_Pin|PS1_Pin
                          |PS2_Pin, GPIO_PIN_RESET);

  /*Configure GPIO pin : PC13 */
  GPIO_InitStruct.Pin = GPIO_PIN_13;
  GPIO_InitStruct.Mode = GPIO_MODE_INPUT;
  GPIO_InitStruct.Pull = GPIO_PULLUP;
  HAL_GPIO_Init(GPIOC, &GPIO_InitStruct);

  /*Configure GPIO pins : SCLK_Pin CS_Pin SDIO0_Pin UPDATE_Pin
                           PWR_Pin PS0_Pin SDIO1_Pin LCD_DC_Pin */
  GPIO_InitStruct.Pin = SCLK_Pin|CS_Pin|SDIO0_Pin|UPDATE_Pin
                          |PWR_Pin|PS0_Pin|SDIO1_Pin|LCD_DC_Pin;
  GPIO_InitStruct.Mode = GPIO_MODE_OUTPUT_PP;
  GPIO_InitStruct.Pull = GPIO_NOPULL;
  GPIO_InitStruct.Speed = GPIO_SPEED_FREQ_LOW;
  HAL_GPIO_Init(GPIOC, &GPIO_InitStruct);

  /*Configure GPIO pins : RESET_Pin SDIO2_Pin SDIO3_Pin PS1_Pin
                           PS2_Pin */
  GPIO_InitStruct.Pin = RESET_Pin|SDIO2_Pin|SDIO3_Pin|PS1_Pin
                          |PS2_Pin;
  GPIO_InitStruct.Mode = GPIO_MODE_OUTPUT_PP;
  GPIO_InitStruct.Pull = GPIO_NOPULL;
  GPIO_InitStruct.Speed = GPIO_SPEED_FREQ_LOW;
  HAL_GPIO_Init(GPIOA, &GPIO_InitStruct);

  /*Configure GPIO pin : PD2 */
  GPIO_InitStruct.Pin = GPIO_PIN_2;
  GPIO_InitStruct.Mode = GPIO_MODE_INPUT;
  GPIO_InitStruct.Pull = GPIO_PULLUP;
  HAL_GPIO_Init(GPIOD, &GPIO_InitStruct);

}

void Error_Handler(void)
{
  __disable_irq();
  while (1)
  {
  }
}
